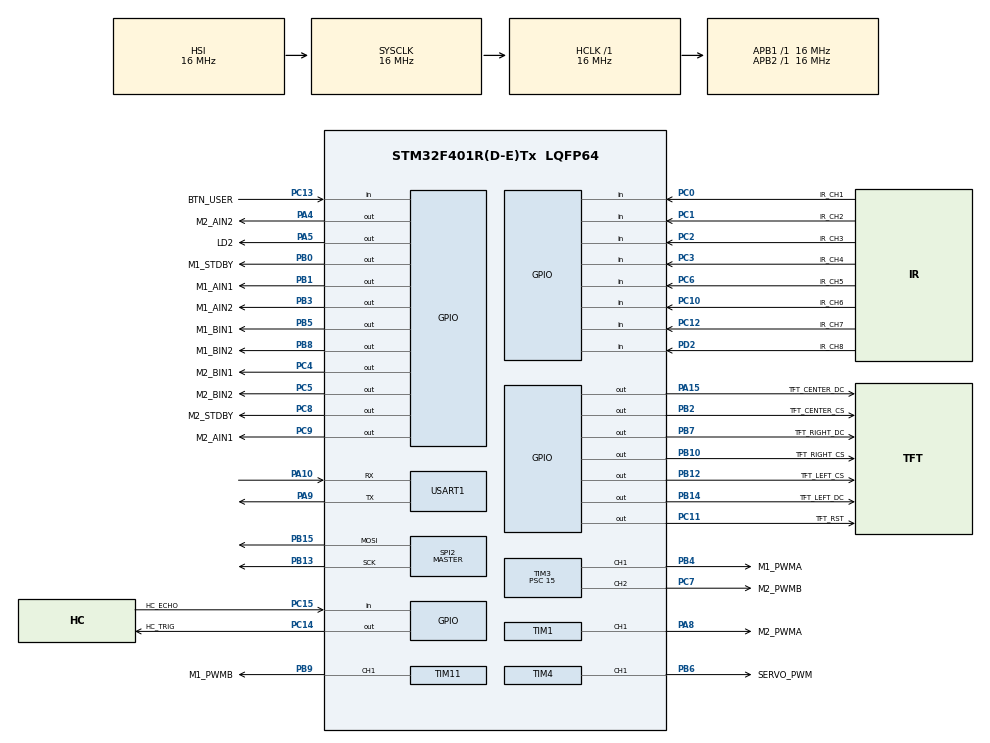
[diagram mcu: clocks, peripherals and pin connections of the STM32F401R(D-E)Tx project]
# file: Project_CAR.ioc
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Mcu.Family=STM32F4
Mcu.Name=STM32F401R(D-E)Tx
Mcu.Package=LQFP64
NVIC.PriorityGroup=NVIC_PRIORITYGROUP_4
NVIC.USART1_IRQn=true\:0\:0\:false\:false\:true\:true\:true\:true
PA10.Mode=Asynchronous
PA10.Signal=USART1_RX
PA15.GPIO_Label=TFT_CENTER_DC
PA15.GPIO_Speed=GPIO_SPEED_FREQ_HIGH
PA15.PinState=GPIO_PIN_SET
PA15.Signal=GPIO_Output
PA4.GPIO_Label=M2_AIN2
PA4.Signal=GPIO_Output
PA5.GPIO_Label=LD2
PA5.Signal=GPIO_Output
PA8.GPIO_Label=M2_PWMA
PA8.Signal=S_TIM1_CH1
PA9.Mode=Asynchronous
PA9.Signal=USART1_TX
PB0.GPIO_Label=M1_STDBY
PB0.Signal=GPIO_Output
PB1.GPIO_Label=M1_AIN1
PB1.Signal=GPIO_Output
PB10.GPIO_Label=TFT_RIGHT_CS
PB10.GPIO_Speed=GPIO_SPEED_FREQ_HIGH
PB10.PinState=GPIO_PIN_SET
PB10.Signal=GPIO_Output
PB12.GPIO_Label=TFT_LEFT_CS
PB12.GPIO_Speed=GPIO_SPEED_FREQ_HIGH
PB12.PinState=GPIO_PIN_SET
PB12.Signal=GPIO_Output
PB13.Mode=TX_Only_Simplex_Unidirect_Master
PB13.Signal=SPI2_SCK
PB14.GPIO_Label=TFT_LEFT_DC
PB14.GPIO_Speed=GPIO_SPEED_FREQ_HIGH
PB14.PinState=GPIO_PIN_SET
PB14.Signal=GPIO_Output
PB15.Mode=TX_Only_Simplex_Unidirect_Master
PB15.Signal=SPI2_MOSI
PB2.GPIO_Label=TFT_CENTER_CS
PB2.GPIO_Speed=GPIO_SPEED_FREQ_HIGH
PB2.PinState=GPIO_PIN_SET
PB2.Signal=GPIO_Output
PB3.GPIO_Label=M1_AIN2
PB3.Signal=GPIO_Output
PB4.GPIO_Label=M1_PWMA
PB4.Signal=S_TIM3_CH1
PB5.GPIO_Label=M1_BIN1
PB5.Signal=GPIO_Output
PB6.GPIO_Label=SERVO_PWM
PB6.Signal=S_TIM4_CH1
PB7.GPIO_Label=TFT_RIGHT_DC
PB7.GPIO_Speed=GPIO_SPEED_FREQ_HIGH
PB7.PinState=GPIO_PIN_SET
PB7.Signal=GPIO_Output
PB8.GPIO_Label=M1_BIN2
PB8.Signal=GPIO_Output
PB9.GPIO_Label=M1_PWMB
PB9.Signal=S_TIM11_CH1
PC0.GPIO_Label=IR_CH1
PC0.GPIO_PuPd=GPIO_PULLUP
PC0.Signal=GPIO_Input
PC1.GPIO_Label=IR_CH2
PC1.GPIO_PuPd=GPIO_PULLUP
PC1.Signal=GPIO_Input
PC10.GPIO_Label=IR_CH6
PC10.GPIO_PuPd=GPIO_PULLUP
PC10.Signal=GPIO_Input
PC11.GPIO_Label=TFT_RST
PC11.GPIO_PuPd=GPIO_PULLUP
PC11.GPIO_Speed=GPIO_SPEED_FREQ_HIGH
PC11.PinState=GPIO_PIN_SET
PC11.Signal=GPIO_Output
PC12.GPIO_Label=IR_CH7
PC12.GPIO_PuPd=GPIO_PULLUP
PC12.Signal=GPIO_Input
PC13-ANTI_TAMP.GPIO_Label=BTN_USER
PC13-ANTI_TAMP.GPIO_PuPd=GPIO_PULLUP
PC13-ANTI_TAMP.Signal=GPIO_Input
PC14-OSC32_IN.GPIO_Label=HC_TRIG
PC14-OSC32_IN.Signal=GPIO_Output
PC15-OSC32_OUT.GPIO_Label=HC_ECHO
PC15-OSC32_OUT.Signal=GPIO_Input
PC2.GPIO_Label=IR_CH3
PC2.GPIO_PuPd=GPIO_PULLUP
PC2.Signal=GPIO_Input
PC3.GPIO_Label=IR_CH4
PC3.GPIO_PuPd=GPIO_PULLUP
PC3.Signal=GPIO_Input
PC4.GPIO_Label=M2_BIN1
PC4.Signal=GPIO_Output
PC5.GPIO_Label=M2_BIN2
PC5.Signal=GPIO_Output
PC6.GPIO_Label=IR_CH5
PC6.GPIO_PuPd=GPIO_PULLUP
PC6.Signal=GPIO_Input
PC7.GPIO_Label=M2_PWMB
PC7.Signal=S_TIM3_CH2
PC8.GPIO_Label=M2_STDBY
PC8.Signal=GPIO_Output
PC9.GPIO_Label=M2_AIN1
PC9.Signal=GPIO_Output
PD2.GPIO_Label=IR_CH8
PD2.GPIO_PuPd=GPIO_PULLUP
PD2.Signal=GPIO_Input
ProjectManager.HeapSize=0x200
ProjectManager.StackSize=0x400
ProjectManager.TargetToolchain=STM32CubeIDE
RCC.AHBFreq_Value=16000000
RCC.APB1Freq_Value=16000000
RCC.APB2Freq_Value=16000000
RCC.CortexFreq_Value=16000000
RCC.HSE_VALUE=25000000
RCC.HSI_VALUE=16000000
RCC.LSE_VALUE=32768
RCC.SYSCLKFreq_VALUE=16000000
RCC.VCOOutputFreq_Value=192000000
SH.S_TIM11_CH1.0=TIM11_CH1,PWM Generation1 CH1
SH.S_TIM1_CH1.0=TIM1_CH1,PWM Generation1 CH1
SH.S_TIM3_CH1.0=TIM3_CH1,PWM Generation1 CH1
SH.S_TIM3_CH2.0=TIM3_CH2,PWM Generation2 CH2
SH.S_TIM4_CH1.0=TIM4_CH1,PWM Generation1 CH1
SPI2.BaudRatePrescaler=SPI_BAUDRATEPRESCALER_4
SPI2.Direction=SPI_DIRECTION_2LINES
SPI2.Mode=SPI_MODE_MASTER
SPI2.VirtualType=VM_MASTER
TIM1.Channel-PWM\ Generation1\ CH1=TIM_CHANNEL_1
TIM1.Period=1000
TIM1.Prescaler=15
TIM11.Channel=TIM_CHANNEL_1
TIM11.Period=1000
TIM11.Prescaler=15
TIM3.Channel-PWM\ Generation1\ CH1=TIM_CHANNEL_1
TIM3.Channel-PWM\ Generation2\ CH2=TIM_CHANNEL_2
TIM3.Period=1000
TIM3.Prescaler=15
TIM4.Channel-PWM\ Generation1\ CH1=TIM_CHANNEL_1
TIM4.Period=20000
TIM4.Prescaler=15
TIM4.Pulse-PWM\ Generation1\ CH1=1500
USART1.VirtualMode=VM_ASYNC
VP_TIM11_VS_ClockSourceINT.Mode=Enable_Timer
VP_TIM1_VS_ClockSourceINT.Mode=Internal
VP_TIM3_VS_ClockSourceINT.Mode=Internal
VP_TIM4_VS_ClockSourceINT.Mode=Internal
board=custom

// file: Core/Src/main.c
/* USER CODE BEGIN Header */
/**
  ******************************************************************************
  * @file           : main.c
  * @brief          : Main program body
  ******************************************************************************
  * @attention
  *
  * Copyright (c) 2026 STMicroelectronics.
  * All rights reserved.
  *
  * This software is licensed under terms that can be found in the LICENSE file
  * in the root directory of this software component.
  * If no LICENSE file comes with this software, it is provided AS-IS.
  *
  ******************************************************************************
  */
/* USER CODE END Header */
#include "main.h"

/* USER CODE BEGIN Includes */
#include "servo.h"
#include "motor.h"
#include "uart_cmd.h"
#include "tft.h"
#include "speedometer.h"
#include "mode_display.h"
/* USER CODE END Includes */

/* USER CODE BEGIN PD */
#define SERVO_MAX_DEFLECT_US  300U   /* 30% of 1000 us half-range */
#define SERVO_STEER_THRESHOLD   0.3f /* joystick threshold to trigger max deflection */
#define SLOW_TASK_TICKS         5U   /* run slow tasks every 5 × 10 ms = 50 ms */
/* USER CODE END PD */

SPI_HandleTypeDef hspi2;

TIM_HandleTypeDef htim1;
TIM_HandleTypeDef htim3;
TIM_HandleTypeDef htim4;
TIM_HandleTypeDef htim11;

UART_HandleTypeDef huart1;

/* USER CODE BEGIN PV */
static MotorDir_t prev_motor_dir   = MOTOR_STOP;
static uint16_t   servo_current_us = SERVO_CENTER_US;
static uint8_t    prev_cross       = 0;
static uint8_t    estop_active     = 0;
static uint8_t    loop_tick        = 0;
/* USER CODE END PV */

void SystemClock_Config(void);
static void MX_GPIO_Init(void);
static void MX_TIM4_Init(void);
static void MX_TIM1_Init(void);
static void MX_TIM3_Init(void);
static void MX_TIM11_Init(void);
static void MX_USART1_UART_Init(void);
static void MX_SPI2_Init(void);

int main(void)
{

  /* MCU Configuration--------------------------------------------------------*/

  /* Reset of all peripherals, Initializes the Flash interface and the Systick. */
  HAL_Init();

  /* Configure the system clock */
  SystemClock_Config();

  /* Initialize all configured peripherals */
  MX_GPIO_Init();
  MX_TIM4_Init();
  MX_TIM1_Init();
  MX_TIM3_Init();
  MX_TIM11_Init();
  MX_USART1_UART_Init();
  MX_SPI2_Init();
  /* USER CODE BEGIN 2 */
  TFT_Init();
  TFT_FillColor(TFT_CENTER, TFT_BLUE);
  ModeDisplay_Init();
  Speedometer_Init();

  Servo_Init();
  Motor_Init();
  UartCmd_Init(&huart1);
  /* USER CODE END 2 */

  /* Infinite loop */
  while (1)
  {

    /* USER CODE BEGIN 3 */

    /* === SERVO: binary – joystick past threshold → max deflection, else center === */
    {
      float lsx = UartCmd_GetLSX();
      if (lsx > SERVO_STEER_THRESHOLD)
          servo_current_us = SERVO_CENTER_US - SERVO_MAX_DEFLECT_US;
      else if (lsx < -SERVO_STEER_THRESHOLD)
          servo_current_us = SERVO_CENTER_US + SERVO_MAX_DEFLECT_US;
      else
          servo_current_us = SERVO_CENTER_US;
      Servo_SetPulse(servo_current_us);
    }

    /* === WOLNE ZADANIA: silniki, CROSS – co 50 ms === */
    loop_tick++;
    if (loop_tick >= SLOW_TASK_TICKS)
    {
      loop_tick = 0;

      /* CROSS → toggle emergency stop (rising edge only) */
      uint8_t cross = UartCmd_GetCross();
      if (cross == 1U && prev_cross == 0U)
      {
        estop_active = !estop_active;
        HAL_GPIO_WritePin(LD2_GPIO_Port, LD2_Pin,
                          estop_active ? GPIO_PIN_SET : GPIO_PIN_RESET);
      }
      prev_cross = cross;

      /* R2 → przód, L2 → tył, proporcjonalnie; CROSS = e-stop */
      float r2 = UartCmd_GetR2();
      float l2 = UartCmd_GetL2();

      MotorDir_t motor_dir;
      uint16_t   motor_speed;

      if (estop_active)
      {
        motor_dir   = MOTOR_STOP;
        motor_speed = 0U;
      }
      else if (r2 > 0.05f)
      {
        motor_dir   = MOTOR_FORWARD;
        motor_speed = (uint16_t)(r2 * (float)MOTOR_MAX_SPEED);
      }
      else if (l2 > 0.05f)
      {
        motor_dir   = MOTOR_BACKWARD;
        motor_speed = (uint16_t)(l2 * (float)MOTOR_MAX_SPEED);
      }
      else
      {
        motor_dir   = MOTOR_STOP;
        motor_speed = 0U;
      }

      if (motor_dir != prev_motor_dir)
      {
        Motor_SetAll(motor_dir, motor_speed);
        prev_motor_dir = motor_dir;
      }
      else if (motor_dir != MOTOR_STOP)
      {
        Motor_SetAll(motor_dir, motor_speed);
      }

      /* Aktualizacja prędkości na wyświetlaczu prawym (z GPS) */
      {
        float spd_f = UartCmd_GetSpeed();
        Speedometer_Update((uint16_t)(spd_f + 0.5f));
      }
    }

    HAL_Delay(10);
  }
  /* USER CODE END 3 */
}

void SystemClock_Config(void)
{
  RCC_OscInitTypeDef RCC_OscInitStruct = {0};
  RCC_ClkInitTypeDef RCC_ClkInitStruct = {0};

  /** Configure the main internal regulator output voltage
  */
  __HAL_RCC_PWR_CLK_ENABLE();
  __HAL_PWR_VOLTAGESCALING_CONFIG(PWR_REGULATOR_VOLTAGE_SCALE2);

  /** Initializes the RCC Oscillators according to the specified parameters
  * in the RCC_OscInitTypeDef structure.
  */
  RCC_OscInitStruct.OscillatorType = RCC_OSCILLATORTYPE_HSI;
  RCC_OscInitStruct.HSIState = RCC_HSI_ON;
  RCC_OscInitStruct.HSICalibrationValue = RCC_HSICALIBRATION_DEFAULT;
  RCC_OscInitStruct.PLL.PLLState = RCC_PLL_NONE;
  if (HAL_RCC_OscConfig(&RCC_OscInitStruct) != HAL_OK)
  {
    Error_Handler();
  }

  /** Initializes the CPU, AHB and APB buses clocks
  */
  RCC_ClkInitStruct.ClockType = RCC_CLOCKTYPE_HCLK|RCC_CLOCKTYPE_SYSCLK
                              |RCC_CLOCKTYPE_PCLK1|RCC_CLOCKTYPE_PCLK2;
  RCC_ClkInitStruct.SYSCLKSource = RCC_SYSCLKSOURCE_HSI;
  RCC_ClkInitStruct.AHBCLKDivider = RCC_SYSCLK_DIV1;
  RCC_ClkInitStruct.APB1CLKDivider = RCC_HCLK_DIV1;
  RCC_ClkInitStruct.APB2CLKDivider = RCC_HCLK_DIV1;

  if (HAL_RCC_ClockConfig(&RCC_ClkInitStruct, FLASH_LATENCY_0) != HAL_OK)
  {
    Error_Handler();
  }
}

static void MX_SPI2_Init(void)
{

  /* SPI2 parameter configuration*/
  hspi2.Instance = SPI2;
  hspi2.Init.Mode = SPI_MODE_MASTER;
  hspi2.Init.Direction = SPI_DIRECTION_2LINES;
  hspi2.Init.DataSize = SPI_DATASIZE_8BIT;
  hspi2.Init.CLKPolarity = SPI_POLARITY_LOW;
  hspi2.Init.CLKPhase = SPI_PHASE_1EDGE;
  hspi2.Init.NSS = SPI_NSS_SOFT;
  hspi2.Init.BaudRatePrescaler = SPI_BAUDRATEPRESCALER_4;
  hspi2.Init.FirstBit = SPI_FIRSTBIT_MSB;
  hspi2.Init.TIMode = SPI_TIMODE_DISABLE;
  hspi2.Init.CRCCalculation = SPI_CRCCALCULATION_DISABLE;
  hspi2.Init.CRCPolynomial = 10;
  if (HAL_SPI_Init(&hspi2) != HAL_OK)
  {
    Error_Handler();
  }

}

static void MX_TIM1_Init(void)
{

  TIM_ClockConfigTypeDef sClockSourceConfig = {0};
  TIM_MasterConfigTypeDef sMasterConfig = {0};
  TIM_OC_InitTypeDef sConfigOC = {0};
  TIM_BreakDeadTimeConfigTypeDef sBreakDeadTimeConfig = {0};

  htim1.Instance = TIM1;
  htim1.Init.Prescaler = 15;
  htim1.Init.CounterMode = TIM_COUNTERMODE_UP;
  htim1.Init.Period = 1000;
  htim1.Init.ClockDivision = TIM_CLOCKDIVISION_DIV1;
  htim1.Init.RepetitionCounter = 0;
  htim1.Init.AutoReloadPreload = TIM_AUTORELOAD_PRELOAD_DISABLE;
  if (HAL_TIM_Base_Init(&htim1) != HAL_OK)
  {
    Error_Handler();
  }
  sClockSourceConfig.ClockSource = TIM_CLOCKSOURCE_INTERNAL;
  if (HAL_TIM_ConfigClockSource(&htim1, &sClockSourceConfig) != HAL_OK)
  {
    Error_Handler();
  }
  if (HAL_TIM_PWM_Init(&htim1) != HAL_OK)
  {
    Error_Handler();
  }
  sMasterConfig.MasterOutputTrigger = TIM_TRGO_RESET;
  sMasterConfig.MasterSlaveMode = TIM_MASTERSLAVEMODE_DISABLE;
  if (HAL_TIMEx_MasterConfigSynchronization(&htim1, &sMasterConfig) != HAL_OK)
  {
    Error_Handler();
  }
  sConfigOC.OCMode = TIM_OCMODE_PWM1;
  sConfigOC.Pulse = 0;
  sConfigOC.OCPolarity = TIM_OCPOLARITY_HIGH;
  sConfigOC.OCNPolarity = TIM_OCNPOLARITY_HIGH;
  sConfigOC.OCFastMode = TIM_OCFAST_DISABLE;
  sConfigOC.OCIdleState = TIM_OCIDLESTATE_RESET;
  sConfigOC.OCNIdleState = TIM_OCNIDLESTATE_RESET;
  if (HAL_TIM_PWM_ConfigChannel(&htim1, &sConfigOC, TIM_CHANNEL_1) != HAL_OK)
  {
    Error_Handler();
  }
  sBreakDeadTimeConfig.OffStateRunMode = TIM_OSSR_DISABLE;
  sBreakDeadTimeConfig.OffStateIDLEMode = TIM_OSSI_DISABLE;
  sBreakDeadTimeConfig.LockLevel = TIM_LOCKLEVEL_OFF;
  sBreakDeadTimeConfig.DeadTime = 0;
  sBreakDeadTimeConfig.BreakState = TIM_BREAK_DISABLE;
  sBreakDeadTimeConfig.BreakPolarity = TIM_BREAKPOLARITY_HIGH;
  sBreakDeadTimeConfig.AutomaticOutput = TIM_AUTOMATICOUTPUT_DISABLE;
  if (HAL_TIMEx_ConfigBreakDeadTime(&htim1, &sBreakDeadTimeConfig) != HAL_OK)
  {
    Error_Handler();
  }
  HAL_TIM_MspPostInit(&htim1);

}

static void MX_TIM3_Init(void)
{

  TIM_ClockConfigTypeDef sClockSourceConfig = {0};
  TIM_MasterConfigTypeDef sMasterConfig = {0};
  TIM_OC_InitTypeDef sConfigOC = {0};

  htim3.Instance = TIM3;
  htim3.Init.Prescaler = 15;
  htim3.Init.CounterMode = TIM_COUNTERMODE_UP;
  htim3.Init.Period = 1000;
  htim3.Init.ClockDivision = TIM_CLOCKDIVISION_DIV1;
  htim3.Init.AutoReloadPreload = TIM_AUTORELOAD_PRELOAD_DISABLE;
  if (HAL_TIM_Base_Init(&htim3) != HAL_OK)
  {
    Error_Handler();
  }
  sClockSourceConfig.ClockSource = TIM_CLOCKSOURCE_INTERNAL;
  if (HAL_TIM_ConfigClockSource(&htim3, &sClockSourceConfig) != HAL_OK)
  {
    Error_Handler();
  }
  if (HAL_TIM_PWM_Init(&htim3) != HAL_OK)
  {
    Error_Handler();
  }
  sMasterConfig.MasterOutputTrigger = TIM_TRGO_RESET;
  sMasterConfig.MasterSlaveMode = TIM_MASTERSLAVEMODE_DISABLE;
  if (HAL_TIMEx_MasterConfigSynchronization(&htim3, &sMasterConfig) != HAL_OK)
  {
    Error_Handler();
  }
  sConfigOC.OCMode = TIM_OCMODE_PWM1;
  sConfigOC.Pulse = 0;
  sConfigOC.OCPolarity = TIM_OCPOLARITY_HIGH;
  sConfigOC.OCFastMode = TIM_OCFAST_DISABLE;
  if (HAL_TIM_PWM_ConfigChannel(&htim3, &sConfigOC, TIM_CHANNEL_1) != HAL_OK)
  {
    Error_Handler();
  }
  if (HAL_TIM_PWM_ConfigChannel(&htim3, &sConfigOC, TIM_CHANNEL_2) != HAL_OK)
  {
    Error_Handler();
  }
  HAL_TIM_MspPostInit(&htim3);

}

static void MX_TIM4_Init(void)
{

  TIM_ClockConfigTypeDef sClockSourceConfig = {0};
  TIM_MasterConfigTypeDef sMasterConfig = {0};
  TIM_OC_InitTypeDef sConfigOC = {0};

  htim4.Instance = TIM4;
  htim4.Init.Prescaler = 15;
  htim4.Init.CounterMode = TIM_COUNTERMODE_UP;
  htim4.Init.Period = 20000;
  htim4.Init.ClockDivision = TIM_CLOCKDIVISION_DIV1;
  htim4.Init.AutoReloadPreload = TIM_AUTORELOAD_PRELOAD_DISABLE;
  if (HAL_TIM_Base_Init(&htim4) != HAL_OK)
  {
    Error_Handler();
  }
  sClockSourceConfig.ClockSource = TIM_CLOCKSOURCE_INTERNAL;
  if (HAL_TIM_ConfigClockSource(&htim4, &sClockSourceConfig) != HAL_OK)
  {
    Error_Handler();
  }
  if (HAL_TIM_PWM_Init(&htim4) != HAL_OK)
  {
    Error_Handler();
  }
  sMasterConfig.MasterOutputTrigger = TIM_TRGO_RESET;
  sMasterConfig.MasterSlaveMode = TIM_MASTERSLAVEMODE_DISABLE;
  if (HAL_TIMEx_MasterConfigSynchronization(&htim4, &sMasterConfig) != HAL_OK)
  {
    Error_Handler();
  }
  sConfigOC.OCMode = TIM_OCMODE_PWM1;
  sConfigOC.Pulse = 1500;
  sConfigOC.OCPolarity = TIM_OCPOLARITY_HIGH;
  sConfigOC.OCFastMode = TIM_OCFAST_DISABLE;
  if (HAL_TIM_PWM_ConfigChannel(&htim4, &sConfigOC, TIM_CHANNEL_1) != HAL_OK)
  {
    Error_Handler();
  }
  HAL_TIM_MspPostInit(&htim4);

}

static void MX_TIM11_Init(void)
{

  TIM_OC_InitTypeDef sConfigOC = {0};

  htim11.Instance = TIM11;
  htim11.Init.Prescaler = 15;
  htim11.Init.CounterMode = TIM_COUNTERMODE_UP;
  htim11.Init.Period = 1000;
  htim11.Init.ClockDivision = TIM_CLOCKDIVISION_DIV1;
  htim11.Init.AutoReloadPreload = TIM_AUTORELOAD_PRELOAD_DISABLE;
  if (HAL_TIM_Base_Init(&htim11) != HAL_OK)
  {
    Error_Handler();
  }
  if (HAL_TIM_PWM_Init(&htim11) != HAL_OK)
  {
    Error_Handler();
  }
  sConfigOC.OCMode = TIM_OCMODE_PWM1;
  sConfigOC.Pulse = 0;
  sConfigOC.OCPolarity = TIM_OCPOLARITY_HIGH;
  sConfigOC.OCFastMode = TIM_OCFAST_DISABLE;
  if (HAL_TIM_PWM_ConfigChannel(&htim11, &sConfigOC, TIM_CHANNEL_1) != HAL_OK)
  {
    Error_Handler();
  }
  HAL_TIM_MspPostInit(&htim11);

}

static void MX_USART1_UART_Init(void)
{

  huart1.Instance = USART1;
  huart1.Init.BaudRate = 115200;
  huart1.Init.WordLength = UART_WORDLENGTH_8B;
  huart1.Init.StopBits = UART_STOPBITS_1;
  huart1.Init.Parity = UART_PARITY_NONE;
  huart1.Init.Mode = UART_MODE_TX_RX;
  huart1.Init.HwFlowCtl = UART_HWCONTROL_NONE;
  huart1.Init.OverSampling = UART_OVERSAMPLING_16;
  if (HAL_UART_Init(&huart1) != HAL_OK)
  {
    Error_Handler();
  }

}

static void MX_GPIO_Init(void)
{
  GPIO_InitTypeDef GPIO_InitStruct = {0};

  /* GPIO Ports Clock Enable */
  __HAL_RCC_GPIOC_CLK_ENABLE();
  __HAL_RCC_GPIOA_CLK_ENABLE();
  __HAL_RCC_GPIOB_CLK_ENABLE();
  __HAL_RCC_GPIOD_CLK_ENABLE();

  /*Configure GPIO pin Output Level */
  HAL_GPIO_WritePin(GPIOC, HC_TRIG_Pin|M2_BIN1_Pin|M2_BIN2_Pin|M2_STDBY_Pin
                          |M2_AIN1_Pin, GPIO_PIN_RESET);

  /*Configure GPIO pin Output Level */
  HAL_GPIO_WritePin(GPIOA, M2_AIN2_Pin|LD2_Pin, GPIO_PIN_RESET);

  /*Configure GPIO pin Output Level */
  HAL_GPIO_WritePin(GPIOB, M1_STDBY_Pin|M1_AIN1_Pin|M1_AIN2_Pin|M1_BIN1_Pin
                          |M1_BIN2_Pin, GPIO_PIN_RESET);

  /*Configure GPIO pin Output Level */
  HAL_GPIO_WritePin(GPIOB, TFT_CENTER_CS_Pin|TFT_RIGHT_CS_Pin|TFT_LEFT_CS_Pin|TFT_LEFT_DC_Pin
                          |TFT_RIGHT_DC_Pin, GPIO_PIN_SET);

  /*Configure GPIO pin Output Level */
  HAL_GPIO_WritePin(TFT_CENTER_DC_GPIO_Port, TFT_CENTER_DC_Pin, GPIO_PIN_SET);

  /*Configure GPIO pin Output Level */
  HAL_GPIO_WritePin(TFT_RST_GPIO_Port, TFT_RST_Pin, GPIO_PIN_SET);

  /*Configure GPIO pins : BTN_USER_Pin IR_CH1_Pin IR_CH2_Pin IR_CH3_Pin
                           IR_CH4_Pin IR_CH5_Pin IR_CH6_Pin IR_CH7_Pin */
  GPIO_InitStruct.Pin = BTN_USER_Pin|IR_CH1_Pin|IR_CH2_Pin|IR_CH3_Pin
                          |IR_CH4_Pin|IR_CH5_Pin|IR_CH6_Pin|IR_CH7_Pin;
  GPIO_InitStruct.Mode = GPIO_MODE_INPUT;
  GPIO_InitStruct.Pull = GPIO_PULLUP;
  HAL_GPIO_Init(GPIOC, &GPIO_InitStruct);

  /*Configure GPIO pins : HC_TRIG_Pin M2_BIN1_Pin M2_BIN2_Pin M2_STDBY_Pin
                           M2_AIN1_Pin */
  GPIO_InitStruct.Pin = HC_TRIG_Pin|M2_BIN1_Pin|M2_BIN2_Pin|M2_STDBY_Pin
                          |M2_AIN1_Pin;
  GPIO_InitStruct.Mode = GPIO_MODE_OUTPUT_PP;
  GPIO_InitStruct.Pull = GPIO_NOPULL;
  GPIO_InitStruct.Speed = GPIO_SPEED_FREQ_LOW;
  HAL_GPIO_Init(GPIOC, &GPIO_InitStruct);

  /*Configure GPIO pin : HC_ECHO_Pin */
  GPIO_InitStruct.Pin = HC_ECHO_Pin;
  GPIO_InitStruct.Mode = GPIO_MODE_INPUT;
  GPIO_InitStruct.Pull = GPIO_NOPULL;
  HAL_GPIO_Init(HC_ECHO_GPIO_Port, &GPIO_InitStruct);

  /*Configure GPIO pins : M2_AIN2_Pin LD2_Pin */
  GPIO_InitStruct.Pin = M2_AIN2_Pin|LD2_Pin;
  GPIO_InitStruct.Mode = GPIO_MODE_OUTPUT_PP;
  GPIO_InitStruct.Pull = GPIO_NOPULL;
  GPIO_InitStruct.Speed = GPIO_SPEED_FREQ_LOW;
  HAL_GPIO_Init(GPIOA, &GPIO_InitStruct);

  /*Configure GPIO pins : M1_STDBY_Pin M1_AIN1_Pin M1_AIN2_Pin M1_BIN1_Pin
                           M1_BIN2_Pin */
  GPIO_InitStruct.Pin = M1_STDBY_Pin|M1_AIN1_Pin|M1_AIN2_Pin|M1_BIN1_Pin
                          |M1_BIN2_Pin;
  GPIO_InitStruct.Mode = GPIO_MODE_OUTPUT_PP;
  GPIO_InitStruct.Pull = GPIO_NOPULL;
  GPIO_InitStruct.Speed = GPIO_SPEED_FREQ_LOW;
  HAL_GPIO_Init(GPIOB, &GPIO_InitStruct);

  /*Configure GPIO pins : TFT_CENTER_CS_Pin TFT_RIGHT_CS_Pin TFT_LEFT_CS_Pin TFT_LEFT_DC_Pin
                           TFT_RIGHT_DC_Pin */
  GPIO_InitStruct.Pin = TFT_CENTER_CS_Pin|TFT_RIGHT_CS_Pin|TFT_LEFT_CS_Pin|TFT_LEFT_DC_Pin
                          |TFT_RIGHT_DC_Pin;
  GPIO_InitStruct.Mode = GPIO_MODE_OUTPUT_PP;
  GPIO_InitStruct.Pull = GPIO_NOPULL;
  GPIO_InitStruct.Speed = GPIO_SPEED_FREQ_HIGH;
  HAL_GPIO_Init(GPIOB, &GPIO_InitStruct);

  /*Configure GPIO pin : TFT_CENTER_DC_Pin */
  GPIO_InitStruct.Pin = TFT_CENTER_DC_Pin;
  GPIO_InitStruct.Mode = GPIO_MODE_OUTPUT_PP;
  GPIO_InitStruct.Pull = GPIO_NOPULL;
  GPIO_InitStruct.Speed = GPIO_SPEED_FREQ_HIGH;
  HAL_GPIO_Init(TFT_CENTER_DC_GPIO_Port, &GPIO_InitStruct);

  /*Configure GPIO pin : TFT_RST_Pin */
  GPIO_InitStruct.Pin = TFT_RST_Pin;
  GPIO_InitStruct.Mode = GPIO_MODE_OUTPUT_PP;
  GPIO_InitStruct.Pull = GPIO_PULLUP;
  GPIO_InitStruct.Speed = GPIO_SPEED_FREQ_HIGH;
  HAL_GPIO_Init(TFT_RST_GPIO_Port, &GPIO_InitStruct);

  /*Configure GPIO pin : IR_CH8_Pin */
  GPIO_InitStruct.Pin = IR_CH8_Pin;
  GPIO_InitStruct.Mode = GPIO_MODE_INPUT;
  GPIO_InitStruct.Pull = GPIO_PULLUP;
  HAL_GPIO_Init(IR_CH8_GPIO_Port, &GPIO_InitStruct);

}

void Error_Handler(void)
{
  __disable_irq();
  while (1)
  {
  }
}
